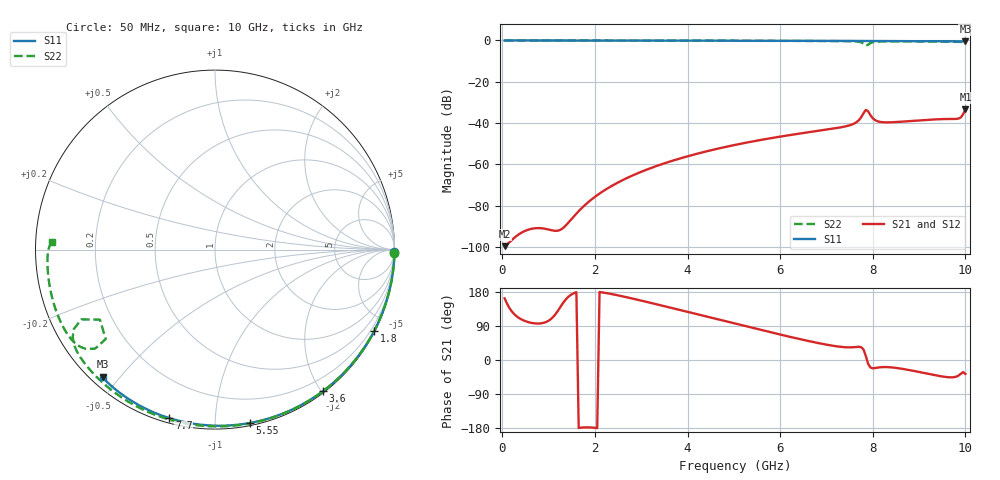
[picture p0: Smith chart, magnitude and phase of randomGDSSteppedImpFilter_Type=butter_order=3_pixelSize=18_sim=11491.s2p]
! freq	dB(S11)	phase(S11)	dB(S12)	phase(S12)
!  dB(S21)	phase(S21)	dB(S22)	phase(S22)
!S-par simulation data
#  GHz  S  DB  R 50
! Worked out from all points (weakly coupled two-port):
!   200 points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, 50 MHz to 10 GHz, reference 50 ohm
!   highest |S21| = -33.38 dB at 10 GHz (marker M1); lowest = -99.6 dB at 50 MHz (marker M2)
!   lowest |S11| = -0.5 dB at 10 GHz (marker M3), VSWR 35.02, Z = 1.72 - j22.5 ohm
!   |S11| at or under -10 dB: nowhere
!   |S22| runs from -2.5 to 0.0 dB; largest |S21 - S12| = 0
!   S11 on the Smith chart (normalised r, x): 50 MHz: open; 1.8 GHz: 0.04, -4.17; 3.6 GHz: 0.02, -2.02; 5.55 GHz: 0.02, -1.22; 7.7 GHz: 0.02, -0.77; 10 GHz: 0.03, -0.45
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0.05  -0.00 -0.8  -99.65 162.8  -99.65 162.8  -0.00 -1.1
0.85  -0.02 -12.9  -90.97 97.0  -90.97 97.0  -0.02 -17.9
1.75  -0.03 -26.2  -80.45 -177.9  -80.45 -177.9  -0.05 -36.4
1.8  -0.03 -27.0  -79.42 -177.7  -79.42 -177.7  -0.05 -37.4
2.45  -0.05 -36.4  -69.38 171.8  -69.38 171.8  -0.06 -50.4
3.4  -0.07 -49.9  -60.27 145.0  -60.27 145.0  -0.09 -68.7
3.6  -0.07 -52.7  -58.78 139.0  -58.78 139.0  -0.10 -72.5
5.05  -0.11 -72.3  -50.48 95.2  -50.48 95.2  -0.15 -98.7
5.55  -0.13 -78.7  -48.32 80.3  -48.32 80.3  -0.18 -107.5
6.7  -0.18 -93.1  -44.18 47.8  -44.18 47.8  -0.25 -127.3
7.45  -0.22 -102.2  -41.42 33.4  -41.42 33.4  -0.35 -141.3
7.7  -0.24 -105.1  -38.60 34.9  -38.60 34.9  -0.63 -148.5
7.8  -0.25 -106.3  -35.24 27.6  -35.24 27.6  -1.52 -152.4
7.85  -0.25 -106.8  -33.64 10.6  -33.64 10.6  -2.49 -148.7
7.9  -0.25 -107.4  -34.32 -10.3  -34.32 -10.3  -2.08 -140.7
7.95  -0.25 -108.0  -36.21 -19.9  -36.21 -19.9  -1.24 -140.4
8.1  -0.27 -109.8  -39.12 -20.2  -39.12 -20.2  -0.57 -145.9
8.35  -0.29 -112.7  -39.67 -19.0  -39.67 -19.0  -0.45 -151.9
9.1  -0.35 -121.3  -38.57 -34.0  -38.57 -34.0  -0.50 -166.1
9.85  -0.44 -129.9  -37.85 -41.3  -37.85 -41.3  -0.66 179.6
9.9  -0.46 -130.5  -37.31 -36.5  -37.31 -36.5  -0.71 178.7
10  -0.50 -131.5  -33.38 -36.8  -33.38 -36.8  -0.80 177.5
